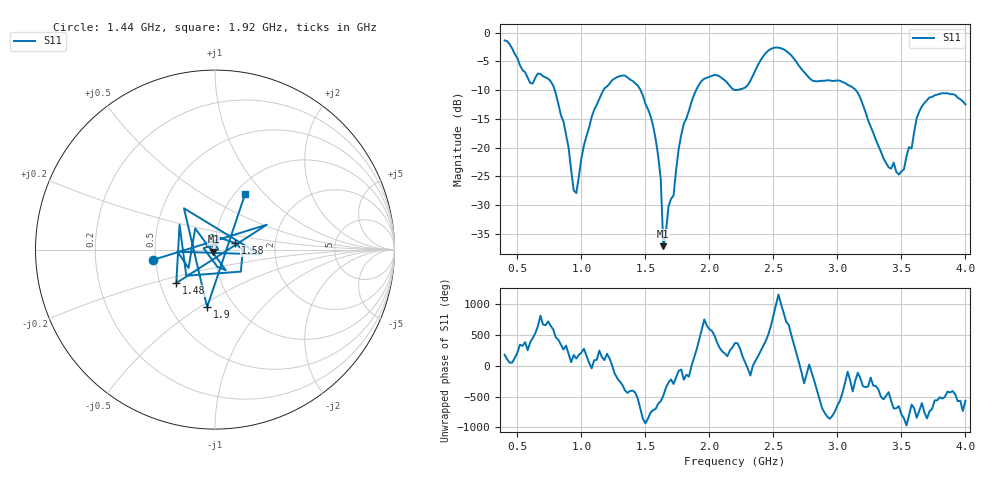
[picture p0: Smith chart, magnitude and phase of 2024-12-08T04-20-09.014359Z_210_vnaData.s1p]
!Created with skrf (http://scikit-rf.org).
# Hz S RI R 50.0
!freq ReS11 ImS11
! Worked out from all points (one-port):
!   181 points, 400 MHz to 4 GHz, reference 50 ohm
!   lowest |S11| = -37.1 dB at 1.64 GHz (marker M1), VSWR 1.03, Z = 49.2 - j1.09 ohm
!   |S11| at or under -10 dB: 791.5 MHz to 1.172 GHz (381 MHz wide, 38.8 % of centre); 1.462 GHz to 1.896 GHz (434 MHz wide, 25.8 % of centre); 3.144 GHz to end of sweep
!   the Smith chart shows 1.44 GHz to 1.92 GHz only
!   S11 on the Smith chart (normalised r, x): 1.44 GHz: 0.49, -0.06; 1.48 GHz: 0.61, -0.25; 1.58 GHz: 1.25, +0.09; 1.9 GHz: 0.75, -0.54; 1.92 GHz: 1.11, +0.79
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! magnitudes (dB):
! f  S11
! 400 MHz  -1.3
! 600 MHz  -8.8
! 760 MHz  -8.5
! 860 MHz  -15.5
! 960 MHz  -27.9
! 1.02 GHz  -19.6
! 1.1 GHz  -13.4
! 1.3 GHz  -7.6
! 1.44 GHz  -9.2
! 1.48 GHz  -10.9
! 1.58 GHz  -18.5
! 1.62 GHz  -25.5
! 1.64 GHz  -37.1
! 1.68 GHz  -30.3
! 1.72 GHz  -28.3
! 1.76 GHz  -20.2
! 1.9 GHz  -9.8
! 1.92 GHz  -9.0
! 2.2 GHz  -10.0
! 2.48 GHz  -2.8
! 2.66 GHz  -4.5
! 2.8 GHz  -8.3
! 3.1 GHz  -9.3
! 3.4 GHz  -23.4
! 3.48 GHz  -24.7
! 3.56 GHz  -19.9
! 3.72 GHz  -11.3
! 4 GHz  -12.5
